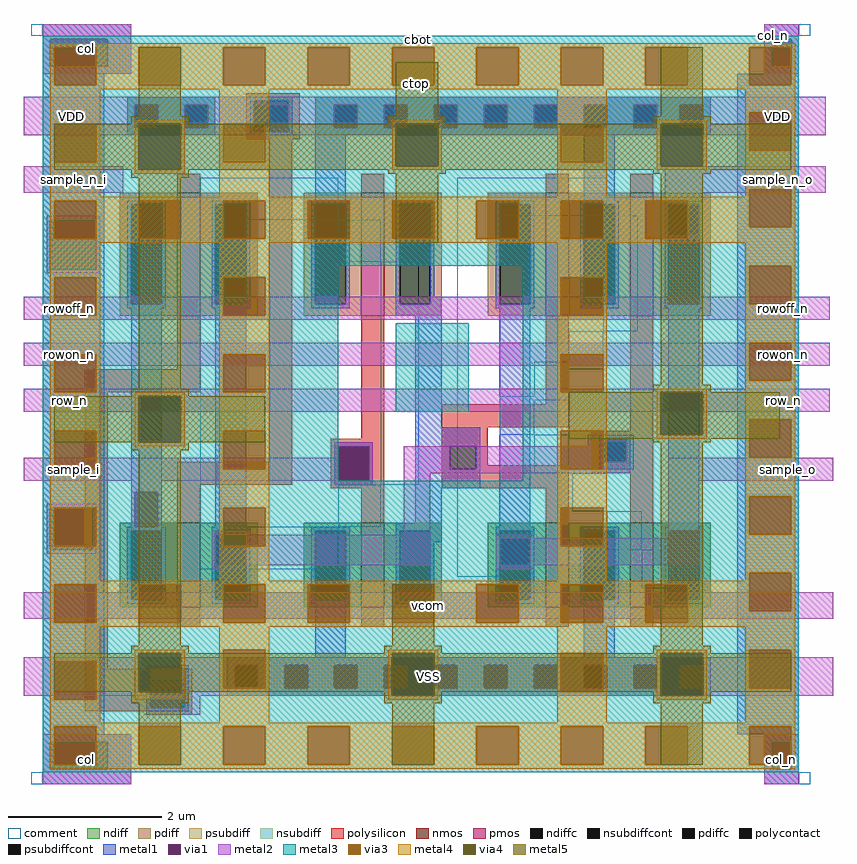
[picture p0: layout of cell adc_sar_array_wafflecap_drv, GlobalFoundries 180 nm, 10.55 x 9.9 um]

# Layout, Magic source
magic
tech gf180mcuD
magscale 1 5
<< nmos >>
rect -945 170 -915 280
rect -705 170 -675 280
rect -465 170 -435 280
rect -355 170 -325 280
<< pmos >>
rect -945 550 -915 710
rect -705 550 -675 710
rect -465 550 -435 710
rect -355 550 -325 710
<< ndiff >>
rect -1020 270 -945 280
rect -1020 180 -1005 270
rect -965 180 -945 270
rect -1020 170 -945 180
rect -915 270 -840 280
rect -915 180 -895 270
rect -855 180 -840 270
rect -915 170 -840 180
rect -780 270 -705 280
rect -780 180 -765 270
rect -725 180 -705 270
rect -780 170 -705 180
rect -675 270 -600 280
rect -675 180 -655 270
rect -615 180 -600 270
rect -675 170 -600 180
rect -540 270 -465 280
rect -540 180 -525 270
rect -485 180 -465 270
rect -540 170 -465 180
rect -435 270 -355 280
rect -435 180 -415 270
rect -375 180 -355 270
rect -435 170 -355 180
rect -325 270 -250 280
rect -325 180 -305 270
rect -265 180 -250 270
rect -325 170 -250 180
<< pdiff >>
rect -1020 695 -945 710
rect -1020 565 -1005 695
rect -965 565 -945 695
rect -1020 550 -945 565
rect -915 695 -840 710
rect -915 565 -895 695
rect -855 565 -840 695
rect -915 550 -840 565
rect -780 695 -705 710
rect -780 565 -765 695
rect -725 565 -705 695
rect -780 550 -705 565
rect -675 695 -600 710
rect -675 565 -655 695
rect -615 565 -600 695
rect -675 550 -600 565
rect -540 695 -465 710
rect -540 565 -525 695
rect -485 565 -465 695
rect -540 550 -465 565
rect -435 695 -355 710
rect -435 565 -415 695
rect -375 565 -355 695
rect -435 550 -355 565
rect -325 695 -250 710
rect -325 565 -305 695
rect -265 565 -250 695
rect -325 550 -250 565
<< ndiffc >>
rect -1005 180 -965 270
rect -895 180 -855 270
rect -765 180 -725 270
rect -655 180 -615 270
rect -525 180 -485 270
rect -415 180 -375 270
rect -305 180 -265 270
<< pdiffc >>
rect -1005 565 -965 695
rect -895 565 -855 695
rect -765 565 -725 695
rect -655 565 -615 695
rect -525 565 -485 695
rect -415 565 -375 695
rect -305 565 -265 695
<< psubdiff >>
rect -880 95 -250 105
rect -880 65 -870 95
rect -840 65 -805 95
rect -775 65 -740 95
rect -710 65 -675 95
rect -645 65 -610 95
rect -580 65 -545 95
rect -515 65 -480 95
rect -450 65 -415 95
rect -385 65 -350 95
rect -320 65 -290 95
rect -260 65 -250 95
rect -880 55 -250 65
<< nsubdiff >>
rect -1010 825 -895 835
rect -1010 795 -1000 825
rect -970 795 -935 825
rect -905 795 -895 825
rect -1010 785 -895 795
rect -765 825 -250 835
rect -765 795 -740 825
rect -710 795 -675 825
rect -645 795 -610 825
rect -580 795 -545 825
rect -515 795 -480 825
rect -450 795 -415 825
rect -385 795 -350 825
rect -320 795 -290 825
rect -260 795 -250 825
rect -765 785 -250 795
<< psubdiffcont >>
rect -870 65 -840 95
rect -805 65 -775 95
rect -740 65 -710 95
rect -675 65 -645 95
rect -610 65 -580 95
rect -545 65 -515 95
rect -480 65 -450 95
rect -415 65 -385 95
rect -350 65 -320 95
rect -290 65 -260 95
<< nsubdiffcont >>
rect -1000 795 -970 825
rect -935 795 -905 825
rect -740 795 -710 825
rect -675 795 -645 825
rect -610 795 -580 825
rect -545 795 -515 825
rect -480 795 -450 825
rect -415 795 -385 825
rect -350 795 -320 825
rect -290 795 -260 825
<< polysilicon >>
rect -855 830 -785 840
rect -855 790 -845 830
rect -800 790 -785 830
rect -855 780 -785 790
rect -945 710 -915 735
rect -945 480 -915 550
rect -1065 450 -915 480
rect -1065 90 -1035 450
rect -825 360 -795 780
rect -705 710 -675 735
rect -465 710 -435 735
rect -355 710 -325 735
rect -705 390 -675 550
rect -465 435 -435 550
rect -945 330 -795 360
rect -745 380 -675 390
rect -745 335 -735 380
rect -695 335 -675 380
rect -945 280 -915 330
rect -745 325 -675 335
rect -600 405 -435 435
rect -600 380 -540 405
rect -355 400 -325 550
rect -600 350 -590 380
rect -555 355 -540 380
rect -405 385 -325 400
rect -405 360 -390 385
rect -360 360 -325 385
rect -555 350 -435 355
rect -600 325 -435 350
rect -405 345 -325 360
rect -705 280 -675 325
rect -465 280 -435 325
rect -355 280 -325 345
rect -945 145 -915 170
rect -705 145 -675 170
rect -465 145 -435 170
rect -355 145 -325 170
rect -1065 75 -925 90
rect -1065 40 -980 75
rect -935 40 -925 75
rect -1065 35 -925 40
rect -985 30 -925 35
<< polycontact >>
rect -845 790 -800 830
rect -735 335 -695 380
rect -590 350 -555 380
rect -390 360 -360 385
rect -980 40 -935 75
<< metal1 >>
rect -1120 910 -1005 930
rect -1120 875 -1110 910
rect -1035 875 -1005 910
rect -1120 865 -1005 875
rect -180 910 -135 930
rect -180 875 -170 910
rect -144 875 -135 910
rect -180 865 -135 875
rect -1120 675 -1040 865
rect -1010 825 -895 835
rect -1010 795 -1000 825
rect -970 795 -935 825
rect -905 795 -895 825
rect -1010 785 -895 795
rect -850 830 -795 835
rect -850 790 -845 830
rect -800 790 -795 830
rect -850 785 -795 790
rect -765 825 -250 835
rect -765 795 -740 825
rect -710 795 -675 825
rect -645 795 -610 825
rect -580 795 -545 825
rect -515 795 -480 825
rect -450 795 -415 825
rect -385 795 -350 825
rect -320 795 -290 825
rect -260 795 -250 825
rect -765 785 -250 795
rect -765 700 -725 785
rect -415 700 -375 785
rect -1120 610 -1110 675
rect -1050 610 -1040 675
rect -1120 300 -1040 610
rect -1010 695 -960 700
rect -1010 565 -1005 695
rect -965 565 -960 695
rect -1010 560 -960 565
rect -900 695 -850 700
rect -900 565 -895 695
rect -855 565 -850 695
rect -900 560 -850 565
rect -770 695 -720 700
rect -770 565 -765 695
rect -725 565 -720 695
rect -770 560 -720 565
rect -660 695 -610 700
rect -660 565 -655 695
rect -615 575 -610 695
rect -530 695 -480 700
rect -615 565 -600 575
rect -1120 245 -1110 300
rect -1055 245 -1040 300
rect -1005 320 -965 560
rect -1005 275 -1000 320
rect -970 275 -965 320
rect -895 275 -855 560
rect -660 550 -600 565
rect -530 565 -525 695
rect -485 565 -480 695
rect -530 560 -480 565
rect -420 695 -370 700
rect -420 565 -415 695
rect -375 565 -370 695
rect -420 560 -370 565
rect -310 695 -260 700
rect -310 565 -305 695
rect -265 565 -260 695
rect -310 560 -260 565
rect -635 405 -600 550
rect -740 380 -690 385
rect -740 335 -735 380
rect -695 335 -690 380
rect -740 330 -690 335
rect -635 380 -550 405
rect -635 350 -590 380
rect -555 350 -550 380
rect -635 325 -550 350
rect -635 280 -600 325
rect -1120 5 -1040 245
rect -1010 270 -960 275
rect -1010 180 -1005 270
rect -965 180 -960 270
rect -1010 175 -960 180
rect -900 270 -850 275
rect -900 180 -895 270
rect -855 180 -850 270
rect -900 175 -850 180
rect -770 270 -720 275
rect -770 180 -765 270
rect -725 180 -720 270
rect -770 175 -720 180
rect -660 270 -600 280
rect -525 275 -485 560
rect -395 390 -350 395
rect -395 360 -390 390
rect -360 360 -350 390
rect -395 350 -350 360
rect -305 275 -265 560
rect -660 180 -655 270
rect -615 255 -600 270
rect -530 270 -480 275
rect -615 180 -610 255
rect -660 175 -610 180
rect -530 180 -525 270
rect -485 180 -480 270
rect -530 175 -480 180
rect -420 270 -370 275
rect -420 180 -415 270
rect -375 180 -370 270
rect -420 175 -370 180
rect -310 270 -260 275
rect -310 180 -305 270
rect -265 180 -260 270
rect -310 175 -260 180
rect -765 105 -725 175
rect -415 105 -375 175
rect -880 95 -250 105
rect -985 90 -930 95
rect -985 40 -980 90
rect -935 40 -930 90
rect -880 65 -870 95
rect -840 65 -805 95
rect -775 65 -740 95
rect -710 65 -675 95
rect -645 65 -610 95
rect -580 65 -545 95
rect -515 65 -480 95
rect -450 65 -415 95
rect -385 65 -350 95
rect -320 65 -290 95
rect -260 65 -250 95
rect -880 55 -250 65
rect -985 35 -930 40
rect -215 5 -135 865
rect -1120 -5 -1005 5
rect -1120 -40 -1110 -5
rect -1035 -40 -1005 -5
rect -1120 -60 -1005 -40
rect -180 -5 -135 5
rect -180 -40 -170 -5
rect -144 -40 -135 -5
rect -180 -60 -135 -40
<< via1 >>
rect -1110 875 -1035 910
rect -170 875 -144 910
rect -1000 795 -970 825
rect -935 795 -905 825
rect -845 795 -800 825
rect -740 795 -710 825
rect -675 795 -645 825
rect -610 795 -580 825
rect -545 795 -515 825
rect -480 795 -450 825
rect -415 795 -385 825
rect -350 795 -320 825
rect -290 795 -260 825
rect -1110 610 -1050 675
rect -1110 245 -1055 300
rect -1000 275 -970 320
rect -305 655 -265 695
rect -735 335 -695 380
rect -895 225 -855 265
rect -390 385 -360 390
rect -390 360 -360 385
rect -525 225 -485 260
rect -980 75 -935 90
rect -980 55 -935 75
rect -870 65 -840 95
rect -805 65 -775 95
rect -740 65 -710 95
rect -675 65 -645 95
rect -610 65 -580 95
rect -545 65 -515 95
rect -480 65 -450 95
rect -415 65 -385 95
rect -350 65 -320 95
rect -290 65 -260 95
rect -1110 -40 -1035 -5
rect -170 -40 -144 -5
<< metal2 >>
rect -1120 910 -1005 930
rect -1120 875 -1110 910
rect -1035 875 -1005 910
rect -1120 865 -1005 875
rect -180 910 -135 930
rect -180 875 -170 910
rect -144 875 -135 910
rect -180 865 -135 875
rect -1145 825 -100 835
rect -1145 795 -1000 825
rect -970 795 -935 825
rect -905 795 -845 825
rect -800 795 -740 825
rect -710 795 -675 825
rect -645 795 -610 825
rect -580 795 -545 825
rect -515 795 -480 825
rect -450 795 -415 825
rect -385 795 -350 825
rect -320 795 -290 825
rect -260 795 -100 825
rect -1145 785 -100 795
rect -1145 710 -1015 745
rect -310 710 -100 745
rect -310 695 -260 710
rect -1115 675 -1045 680
rect -1115 610 -1110 675
rect -1050 610 -1045 675
rect -310 655 -305 695
rect -265 655 -260 695
rect -310 650 -260 655
rect -1115 605 -1045 610
rect -1145 545 -95 575
rect -1145 485 -95 515
rect -1145 425 -95 455
rect -410 390 -355 395
rect -740 380 -690 385
rect -410 380 -390 390
rect -740 365 -735 380
rect -1145 335 -735 365
rect -695 335 -690 380
rect -1005 320 -965 335
rect -740 330 -690 335
rect -650 360 -390 380
rect -360 360 -355 390
rect -650 345 -355 360
rect -1115 300 -1050 305
rect -1115 245 -1110 300
rect -1055 245 -1050 300
rect -1005 275 -1000 320
rect -970 275 -965 320
rect -1005 270 -965 275
rect -1115 240 -1050 245
rect -900 265 -850 270
rect -650 265 -615 345
rect -305 335 -90 365
rect -900 225 -895 265
rect -855 225 -615 265
rect -530 260 -480 265
rect -305 260 -265 335
rect -530 225 -525 260
rect -485 225 -265 260
rect -900 220 -850 225
rect -530 220 -480 225
rect -1145 155 -90 190
rect -1145 95 -90 105
rect -1145 90 -870 95
rect -1145 55 -980 90
rect -935 65 -870 90
rect -840 65 -805 95
rect -775 65 -740 95
rect -710 65 -675 95
rect -645 65 -610 95
rect -580 65 -545 95
rect -515 65 -480 95
rect -450 65 -415 95
rect -385 65 -350 95
rect -320 65 -290 95
rect -260 65 -90 95
rect -935 55 -90 65
rect -985 30 -915 55
rect -1120 -5 -1005 5
rect -1120 -40 -1110 -5
rect -1035 -40 -1005 -5
rect -1120 -60 -1005 -40
rect -180 -5 -135 5
rect -180 -40 -170 -5
rect -144 -40 -135 -5
rect -180 -60 -135 -40
<< metal3 >>
rect -1120 900 -135 915
rect -1120 850 -1105 900
rect -1050 850 -995 900
rect -940 850 -885 900
rect -830 850 -775 900
rect -720 850 -665 900
rect -610 850 -555 900
rect -500 850 -445 900
rect -390 850 -335 900
rect -280 850 -200 900
rect -145 850 -135 900
rect -1120 815 -135 850
rect -1120 800 -200 815
rect -1120 750 -1105 800
rect -1050 750 -885 800
rect -830 750 -445 800
rect -390 765 -200 800
rect -145 765 -135 815
rect -390 750 -135 765
rect -1120 715 -135 750
rect -1120 700 -200 715
rect -1120 650 -1105 700
rect -1050 650 -995 700
rect -940 650 -885 700
rect -830 650 -775 700
rect -720 650 -665 700
rect -610 650 -555 700
rect -500 650 -445 700
rect -390 650 -335 700
rect -280 665 -200 700
rect -145 665 -135 715
rect -280 650 -135 665
rect -1120 615 -135 650
rect -1120 600 -735 615
rect -1120 550 -1105 600
rect -1050 550 -885 600
rect -830 550 -735 600
rect -1120 500 -735 550
rect -495 600 -200 615
rect -495 550 -445 600
rect -390 565 -200 600
rect -145 565 -135 615
rect -390 550 -135 565
rect -1120 450 -1105 500
rect -1050 450 -885 500
rect -830 450 -735 500
rect -1120 400 -735 450
rect -660 425 -565 540
rect -495 515 -135 550
rect -495 500 -200 515
rect -495 450 -445 500
rect -390 465 -200 500
rect -145 465 -135 515
rect -390 450 -135 465
rect -1120 350 -1105 400
rect -1050 350 -885 400
rect -830 350 -735 400
rect -1120 335 -735 350
rect -495 415 -135 450
rect -495 400 -200 415
rect -495 350 -445 400
rect -390 365 -200 400
rect -145 365 -135 415
rect -390 350 -135 365
rect -495 335 -135 350
rect -1120 315 -135 335
rect -1120 300 -200 315
rect -1120 250 -1105 300
rect -1050 250 -885 300
rect -830 250 -445 300
rect -390 265 -200 300
rect -145 265 -135 315
rect -390 250 -135 265
rect -1120 215 -135 250
rect -1120 200 -200 215
rect -1120 150 -1105 200
rect -1050 150 -995 200
rect -940 150 -885 200
rect -830 150 -775 200
rect -720 150 -665 200
rect -610 150 -555 200
rect -500 150 -445 200
rect -390 150 -335 200
rect -280 165 -200 200
rect -145 165 -135 215
rect -280 150 -135 165
rect -1120 115 -135 150
rect -1120 100 -885 115
rect -1120 50 -1105 100
rect -1050 65 -885 100
rect -830 110 -200 115
rect -830 65 -445 110
rect -1050 60 -445 65
rect -390 65 -200 110
rect -145 65 -135 115
rect -390 60 -135 65
rect -1050 50 -135 60
rect -1120 15 -135 50
rect -1120 -35 -1105 15
rect -1050 -35 -995 15
rect -940 -35 -885 15
rect -830 -35 -775 15
rect -720 -35 -665 15
rect -610 -35 -555 15
rect -500 -35 -445 15
rect -390 -35 -335 15
rect -280 -35 -200 15
rect -145 -35 -135 15
rect -1120 -45 -135 -35
<< via3 >>
rect -1105 850 -1050 900
rect -995 850 -940 900
rect -885 850 -830 900
rect -775 850 -720 900
rect -665 850 -610 900
rect -555 850 -500 900
rect -445 850 -390 900
rect -335 850 -280 900
rect -200 850 -145 900
rect -1105 750 -1050 800
rect -885 750 -830 800
rect -445 750 -390 800
rect -200 765 -145 815
rect -1105 650 -1050 700
rect -995 650 -940 700
rect -885 650 -830 700
rect -775 650 -720 700
rect -665 650 -610 700
rect -555 650 -500 700
rect -445 650 -390 700
rect -335 650 -280 700
rect -200 665 -145 715
rect -1105 550 -1050 600
rect -885 550 -830 600
rect -445 550 -390 600
rect -200 565 -145 615
rect -1105 450 -1050 500
rect -885 450 -830 500
rect -445 450 -390 500
rect -200 465 -145 515
rect -1105 350 -1050 400
rect -885 350 -830 400
rect -445 350 -390 400
rect -200 365 -145 415
rect -1105 250 -1050 300
rect -885 250 -830 300
rect -445 250 -390 300
rect -200 265 -145 315
rect -1105 150 -1050 200
rect -995 150 -940 200
rect -885 150 -830 200
rect -775 150 -720 200
rect -665 150 -610 200
rect -555 150 -500 200
rect -445 150 -390 200
rect -335 150 -280 200
rect -200 165 -145 215
rect -1105 50 -1050 100
rect -885 65 -830 115
rect -445 60 -390 110
rect -200 65 -145 115
rect -1105 -35 -1050 15
rect -995 -35 -940 15
rect -885 -35 -830 15
rect -775 -35 -720 15
rect -665 -35 -610 15
rect -555 -35 -500 15
rect -445 -35 -390 15
rect -335 -35 -280 15
rect -200 -35 -145 15
<< metal4 >>
rect -1110 900 -140 905
rect -1110 850 -1105 900
rect -1050 850 -995 900
rect -940 850 -885 900
rect -830 850 -775 900
rect -720 850 -665 900
rect -610 850 -555 900
rect -500 850 -445 900
rect -390 850 -335 900
rect -280 850 -200 900
rect -145 850 -140 900
rect -1110 845 -140 850
rect -1110 800 -1045 845
rect -1110 750 -1105 800
rect -1050 750 -1045 800
rect -1110 705 -1045 750
rect -1000 800 -935 805
rect -1000 740 -995 800
rect -940 740 -935 800
rect -1000 735 -935 740
rect -890 800 -825 845
rect -890 750 -885 800
rect -830 750 -825 800
rect -890 705 -825 750
rect -665 800 -600 805
rect -665 745 -660 800
rect -605 745 -600 800
rect -665 740 -600 745
rect -450 800 -385 845
rect -205 815 -140 845
rect -450 750 -445 800
rect -390 750 -385 800
rect -450 705 -385 750
rect -320 800 -255 805
rect -320 745 -315 800
rect -260 745 -255 800
rect -320 740 -255 745
rect -205 765 -200 815
rect -145 765 -140 815
rect -205 715 -140 765
rect -205 705 -200 715
rect -1110 700 -200 705
rect -1110 650 -1105 700
rect -1050 650 -995 700
rect -940 650 -885 700
rect -830 650 -775 700
rect -720 650 -665 700
rect -610 650 -555 700
rect -500 650 -445 700
rect -390 650 -335 700
rect -280 665 -200 700
rect -145 665 -140 715
rect -280 650 -140 665
rect -1110 645 -140 650
rect -1110 600 -1045 645
rect -1110 550 -1105 600
rect -1050 550 -1045 600
rect -1110 500 -1045 550
rect -1110 450 -1105 500
rect -1050 450 -1045 500
rect -890 600 -825 645
rect -890 550 -885 600
rect -830 550 -825 600
rect -890 500 -825 550
rect -890 450 -885 500
rect -830 450 -825 500
rect -1110 400 -1045 450
rect -1110 350 -1105 400
rect -1050 350 -1045 400
rect -1000 445 -935 450
rect -1000 385 -995 445
rect -940 385 -935 445
rect -1000 380 -935 385
rect -890 400 -825 450
rect -1110 300 -1045 350
rect -1110 250 -1105 300
rect -1050 250 -1045 300
rect -1110 205 -1045 250
rect -890 350 -885 400
rect -830 350 -825 400
rect -890 300 -825 350
rect -890 250 -885 300
rect -830 250 -825 300
rect -890 205 -825 250
rect -450 600 -385 645
rect -450 550 -445 600
rect -390 550 -385 600
rect -450 500 -385 550
rect -450 450 -445 500
rect -390 450 -385 500
rect -205 615 -140 645
rect -205 565 -200 615
rect -145 565 -140 615
rect -205 515 -140 565
rect -205 465 -200 515
rect -145 465 -140 515
rect -450 400 -385 450
rect -450 350 -445 400
rect -390 350 -385 400
rect -320 450 -255 455
rect -320 395 -315 450
rect -260 395 -255 450
rect -320 390 -255 395
rect -205 415 -140 465
rect -450 300 -385 350
rect -450 250 -445 300
rect -390 250 -385 300
rect -450 205 -385 250
rect -205 365 -200 415
rect -145 365 -140 415
rect -205 315 -140 365
rect -205 265 -200 315
rect -145 265 -140 315
rect -205 215 -140 265
rect -205 205 -200 215
rect -1110 200 -200 205
rect -1110 150 -1105 200
rect -1050 150 -995 200
rect -940 150 -885 200
rect -830 150 -775 200
rect -720 150 -665 200
rect -610 150 -555 200
rect -500 150 -445 200
rect -390 150 -335 200
rect -280 165 -200 200
rect -145 165 -140 215
rect -280 150 -140 165
rect -1110 145 -140 150
rect -1110 100 -1045 145
rect -890 115 -825 145
rect -1110 50 -1105 100
rect -1050 50 -1045 100
rect -1000 110 -935 115
rect -1000 60 -995 110
rect -940 60 -935 110
rect -1000 50 -935 60
rect -890 65 -885 115
rect -830 65 -825 115
rect -1110 20 -1045 50
rect -890 20 -825 65
rect -670 110 -605 115
rect -670 55 -665 110
rect -610 55 -605 110
rect -670 50 -605 55
rect -450 110 -385 145
rect -205 115 -140 145
rect -450 60 -445 110
rect -390 60 -385 110
rect -450 20 -385 60
rect -320 110 -255 115
rect -320 55 -315 110
rect -260 55 -255 110
rect -320 50 -255 55
rect -205 65 -200 115
rect -145 65 -140 115
rect -205 20 -140 65
rect -1110 15 -140 20
rect -1110 -35 -1105 15
rect -1050 -35 -995 15
rect -940 -35 -885 15
rect -830 -35 -775 15
rect -720 -35 -665 15
rect -610 -35 -555 15
rect -500 -35 -445 15
rect -390 -35 -335 15
rect -280 -35 -200 15
rect -145 -35 -140 15
rect -1110 -40 -140 -35
<< via4 >>
rect -995 740 -940 800
rect -660 745 -605 800
rect -315 745 -260 800
rect -995 385 -940 445
rect -315 395 -260 450
rect -995 60 -940 110
rect -665 55 -610 110
rect -315 55 -260 110
<< metal5 >>
rect -995 810 -940 900
rect -660 810 -605 880
rect -315 810 -260 900
rect -1005 800 -930 810
rect -670 800 -595 810
rect -325 800 -250 810
rect -1105 740 -995 800
rect -940 745 -660 800
rect -605 745 -315 800
rect -260 745 -145 800
rect -940 740 -145 745
rect -1005 730 -930 740
rect -670 735 -595 740
rect -325 735 -250 740
rect -995 455 -940 730
rect -660 645 -605 735
rect -315 460 -260 735
rect -1005 445 -930 455
rect -325 450 -250 460
rect -1105 385 -995 445
rect -940 385 -830 445
rect -435 395 -315 450
rect -260 395 -160 450
rect -435 390 -160 395
rect -325 385 -250 390
rect -1005 375 -930 385
rect -995 120 -940 375
rect -665 120 -610 200
rect -315 120 -260 385
rect -1005 110 -930 120
rect -675 110 -600 120
rect -325 110 -250 120
rect -1105 60 -995 110
rect -940 60 -665 110
rect -1005 45 -930 60
rect -675 55 -665 60
rect -610 60 -315 110
rect -610 55 -600 60
rect -675 45 -600 55
rect -325 55 -315 60
rect -260 60 -145 110
rect -260 55 -250 60
rect -325 45 -250 55
rect -995 -35 -940 45
rect -665 -35 -610 45
rect -315 -35 -260 45
<< comment >>
rect -1135 915 -1120 930
rect -135 915 -120 930
rect -915 675 -735 730
rect -580 680 -385 730
rect -915 275 -855 675
rect -735 620 -680 675
rect -680 330 -630 620
rect -580 445 -525 680
rect -390 530 -345 680
rect -435 490 -390 530
rect -480 480 -390 490
rect -480 445 -435 480
rect -580 440 -435 445
rect -580 395 -480 440
rect -735 275 -680 330
rect -915 220 -735 275
rect -580 210 -525 395
rect -480 345 -435 395
rect -430 295 -385 345
rect -385 245 -340 295
rect -340 195 -295 245
rect -1135 -60 -1120 -45
rect -135 -60 -120 -45
<< labels >>
flabel metal2 -1120 865 -1005 930 0 FreeSans 160 0 0 0 col
port 1 nsew
flabel metal2 -1145 785 -1020 835 0 FreeSans 160 0 0 0 VDD
port 2 nsew
flabel metal2 -225 785 -100 835 0 FreeSans 160 0 0 0 VDD
port 3 nsew
flabel metal2 -180 900 -155 930 0 FreeSans 160 0 0 0 col_n
port 4 nsew
flabel metal2 -1145 710 -1015 745 0 FreeSans 160 0 0 0 sample_n_i
port 5 nsew
flabel metal2 -225 710 -100 745 0 FreeSans 160 0 0 0 sample_n_o
port 6 nsew
flabel metal2 -1145 545 -1025 575 0 FreeSans 160 0 0 0 rowoff_n
port 7 nsew
flabel metal2 -215 545 -95 575 0 FreeSans 160 0 0 0 rowoff_n
port 8 nsew
flabel metal2 -1145 485 -1025 515 0 FreeSans 160 0 0 0 rowon_n
port 9 nsew
flabel metal2 -215 485 -95 515 0 FreeSans 160 0 0 0 rowon_n
port 10 nsew
flabel metal2 -1145 425 -1025 455 0 FreeSans 160 0 0 0 row_n
port 11 nsew
flabel metal2 -215 425 -95 455 0 FreeSans 160 0 0 0 row_n
port 12 nsew
flabel metal2 -1140 335 -1020 365 0 FreeSans 160 0 0 0 sample_i
port 13 nsew
flabel metal2 -210 335 -90 365 0 FreeSans 160 0 0 0 sample_o
port 14 nsew
flabel metal2 -1145 155 -90 190 0 FreeSans 160 0 0 0 vcom
port 15 nsew
flabel metal2 -1145 55 -90 105 0 FreeSans 160 0 0 0 VSS
port 16 nsew
flabel metal2 -1120 -60 -1005 5 0 FreeSans 160 0 0 0 col
port 17 nsew
flabel metal2 -180 -60 -135 5 0 FreeSans 160 0 0 0 col_n
port 18 nsew
flabel metal5 -660 825 -605 880 0 FreeSans 160 0 0 0 ctop
port 19 nsew
flabel metal3 -630 910 -630 910 1 FreeSans 160 0 0 0 cbot
port 20 n
<< end >>
